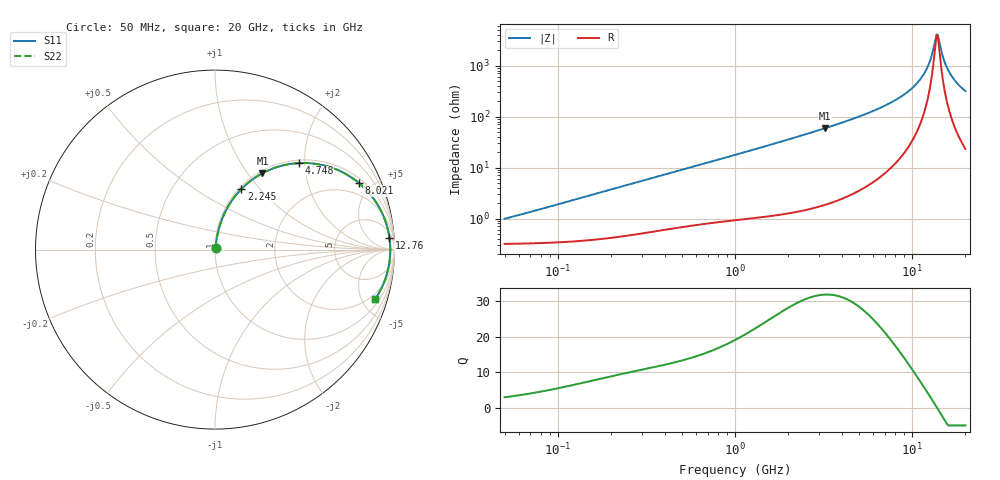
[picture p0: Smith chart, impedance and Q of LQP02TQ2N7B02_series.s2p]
!Murata Part Number: LQP02TQ2N7B02
!These Parameters are Measured in Series Mode Connection
!  o--[Z]--o
!Port1  Port2
!  o-------o
!Freq. Start=50[MHz] Stop=20[GHz], 401[Steps]
# Hz S RI R 50
!Freq.(Hz) S11(Real) S11(Imag) S21(Real) S21(Imag) S12(Real) S12(Imag) S22(Real) S22(Imag)
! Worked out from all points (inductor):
!   401 points, 50 MHz to 20 GHz, reference 50 ohm
!   read as one part in series: L = 2.98 nH near 51.52 MHz
!   highest Q = 31.9 at 3.217 GHz (marker M1), where L = 2.92 nH
!   self-resonance near 13.75 GHz
!   S11 on the Smith chart (normalised r, x): 50 MHz: 1.01, +0.02; 2.245 GHz: 1.03, +0.80; 4.748 GHz: 1.06, +1.86; 8.021 GHz: 1.24, +4.17; 12.76 GHz: 10, +26; 20 GHz: 1.46, -6.33
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5e7  0.00325 0.0093  0.9968 -0.0093  0.9968 -0.0093  0.00325 0.0093
1.364002e8  0.00427 0.0252  0.9957 -0.0252  0.9957 -0.0252  0.00427 0.0252
3.721004e8  0.0102 0.0665  0.9898 -0.0665  0.9898 -0.0665  0.0102 0.0665
1e9  0.0386 0.1682  0.9614 -0.1682  0.9614 -0.1682  0.0386 0.1682
2.245319e9  0.1465 0.3371  0.8535 -0.3371  0.8535 -0.3371  0.1465 0.3371
2.728004e9  0.2027 0.3863  0.7973 -0.3863  0.7973 -0.3863  0.2027 0.3863
3.216634e9  0.2644 0.4256  0.7356 -0.4256  0.7356 -0.4256  0.2644 0.4256
4.748272e9  0.4659 0.4821  0.5341 -0.4821  0.5341 -0.4821  0.4659 0.4821
5.944466e9  0.6099 0.4684  0.3901 -0.4684  0.3901 -0.4684  0.6099 0.4684
7.442007e9  0.7552 0.4052  0.2448 -0.4052  0.2448 -0.4052  0.7552 0.4052
8.020766e9  0.8001 0.3724  0.1999 -0.3724  0.1999 -0.3724  0.8001 0.3724
9.457416e9  0.8856 0.281  0.1144 -0.281  0.1144 -0.281  0.8856 0.281
1.082228e10  0.9372 0.1896  0.0628 -0.1896  0.0628 -0.1896  0.9372 0.1896
1.183995e10  0.9604 0.1226  0.0396 -0.1226  0.0396 -0.1226  0.9604 0.1226
1.276073e10  0.9721 0.0644  0.0279 -0.0644  0.0279 -0.0644  0.9721 0.0644
1.354865e10  0.9763 0.017  0.0237 -0.017  0.0237 -0.017  0.9763 0.017
1.396067e10  0.9766 -0.00689  0.0234 0.00689  0.0234 0.00689  0.9766 -0.00689
1.417136e10  0.9763 -0.0188  0.0237 0.0188  0.0237 0.0188  0.9763 -0.0188
1.527346e10  0.9706 -0.0781  0.0294 0.0781  0.0294 0.0781  0.9706 -0.0781
1.621653e10  0.9609 -0.1247  0.0391 0.1247  0.0391 0.1247  0.9609 -0.1247
1.800918e10  0.9332 -0.2028  0.0668 0.2028  0.0668 0.2028  0.9332 -0.2028
2e10  0.8932 -0.2744  0.1068 0.2744  0.1068 0.2744  0.8932 -0.2744
